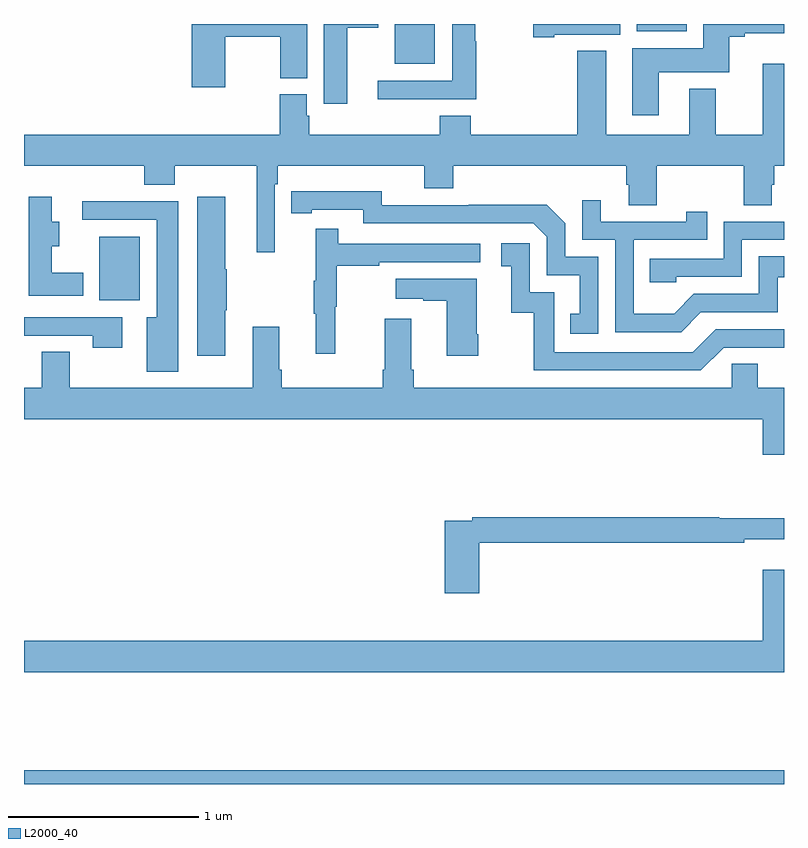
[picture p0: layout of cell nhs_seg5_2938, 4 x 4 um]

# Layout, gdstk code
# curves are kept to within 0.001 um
import gdstk
lib = gdstk.Library(unit=1e-6, precision=1e-09)
def R(c, l, rs):  # rectangles x0, y0, x1, y1
    for r in rs: c.add(gdstk.rectangle(r[:2], r[2:], *l))
def P(c, l, *ps):  # polygons
    for p in ps: c.add(gdstk.Polygon(p, *l))
L2000_40 = (2000, 40)

nhs_seg5_2938 = lib.new_cell('nhs_seg5_2938')
R(nhs_seg5_2938, L2000_40, [(281,894.799,285,894.872), (281.396,897.344,281.608,897.679), (282.95,898.589,283.162,898.799), (284.225,898.76,284.488,898.799)])
P(nhs_seg5_2938, L2000_40, [(282.06,898.732),(282.349,898.732),(282.349,898.513),(282.49,898.513),(282.49,898.799),(281.882,898.799),(281.882,898.467),(282.06,898.467)],
  [(282.7,898.778),(282.865,898.778),(282.865,898.799),(282.578,898.799),(282.578,898.38),(282.7,898.38)],
  [(284.341,898.544),(284.711,898.544),(284.711,898.732),(284.794,898.732),(284.794,898.751),(285,898.751),(285,898.799),(284.576,898.799),(284.576,898.672),(284.201,898.672),(284.201,898.32),(284.341,898.32)],
  [(283.792,898.742),(284.137,898.742),(284.137,898.799),(283.68,898.799),(283.68,898.73),(283.792,898.73)],
  [(283.379,898.707),(283.374,898.707),(283.374,898.799),(283.253,898.799),(283.253,898.5),(282.861,898.5),(282.861,898.403),(283.379,898.403)],
  [(283.187,898.216),(282.5,898.216),(282.5,898.317),(282.487,898.317),(282.487,898.428),(282.347,898.428),(282.347,898.216),(281,898.216),(281,898.052),(281.633,898.052),(281.633,897.953),(281.793,897.953),(281.793,898.052),(282.224,898.052),(282.224,897.597),(282.321,897.597),(282.321,897.956),(282.335,897.956),(282.335,898.052),(283.106,898.052),(283.106,897.935),(283.259,897.935),(283.259,898.052),(284.171,898.052),(284.171,897.954),(284.183,897.954),(284.183,897.844),(284.331,897.844),(284.331,898.052),(284.788,898.052),(284.788,897.844),(284.935,897.844),(284.935,897.954),(284.948,897.954),(284.948,898.052),(285,898.052),(285,898.591),(284.888,898.591),(284.888,898.216),(284.641,898.216),(284.641,898.459),(284.501,898.459),(284.501,898.216),(284.065,898.216),(284.065,898.657),(283.913,898.657),(283.913,898.216),(283.352,898.216),(283.352,898.315),(283.187,898.315)],
  [(284.022,897.573),(283.848,897.573),(283.848,897.75),(283.75,897.848),(283.342,897.848),(283.342,897.846),(282.882,897.846),(282.882,897.919),(282.406,897.918),(282.406,897.802),(282.514,897.802),(282.514,897.822),(282.786,897.822),(282.786,897.75),(283.68,897.75),(283.752,897.678),(283.752,897.477),(283.925,897.477),(283.925,897.273),(283.876,897.273),(283.876,897.168),(284.022,897.168)],
  [(282.058,897.292),(282.066,897.292),(282.066,897.509),(282.058,897.509),(282.058,897.889),(281.912,897.889),(281.912,897.054),(282.058,897.054)],
  [(281.311,897.49),(281.146,897.49),(281.146,897.629),(281.185,897.629),(281.185,897.759),(281.146,897.759),(281.146,897.889),(281.024,897.889),(281.024,897.368),(281.311,897.368)],
  [(284.563,897.282),(284.967,897.282),(284.967,897.467),(285,897.467),(285,897.577),(284.868,897.577),(284.868,897.378),(284.526,897.378),(284.422,897.274),(284.208,897.274),(284.208,897.663),(284.597,897.663),(284.597,897.811),(284.486,897.811),(284.486,897.759),(284.035,897.759),(284.035,897.871),(283.938,897.871),(283.938,897.663),(284.112,897.663),(284.112,897.177),(284.458,897.177)],
  [(281.812,897.866),(281.307,897.866),(281.307,897.768),(281.699,897.768),(281.699,897.256),(281.645,897.256),(281.645,896.97),(281.812,896.97)],
  [(284.433,897.468),(284.778,897.468),(284.778,897.663),(285,897.663),(285,897.759),(284.682,897.759),(284.682,897.564),(284.293,897.564),(284.293,897.441),(284.433,897.441)],
  [(282.638,897.312),(282.646,897.312),(282.646,897.526),(282.869,897.526),(282.869,897.546),(283.402,897.546),(283.402,897.642),(282.653,897.642),(282.653,897.721),(282.536,897.721),(282.536,897.449),(282.525,897.449),(282.525,897.275),(282.536,897.275),(282.536,897.063),(282.638,897.063)],
  [(284.682,897.096),(285,897.096),(285,897.192),(284.64,897.192),(284.52,897.072),(283.791,897.072),(283.791,897.387),(283.662,897.387),(283.662,897.646),(283.512,897.646),(283.512,897.525),(283.565,897.525),(283.565,897.279),(283.683,897.279),(283.683,896.976),(284.562,896.976)],
  [(283.392,897.166),(283.384,897.166),(283.384,897.457),(282.957,897.457),(282.957,897.353),(283.1,897.353),(283.1,897.343),(283.226,897.343),(283.226,897.054),(283.392,897.054)],
  [(281.518,897.255),(281,897.255),(281,897.159),(281.362,897.159),(281.362,897.096),(281.518,897.096)],
  [(285,896.884),(284.863,896.884),(284.863,897.011),(284.724,897.011),(284.724,896.884),(283.052,896.884),(283.052,896.98),(283.039,896.98),(283.039,897.247),(282.899,897.247),(282.899,896.98),(282.887,896.98),(282.887,896.884),(282.356,896.884),(282.356,896.98),(282.343,896.98),(282.343,897.205),(282.203,897.205),(282.203,896.884),(281.241,896.884),(281.241,897.074),(281.093,897.074),(281.093,896.884),(281,896.884),(281,896.72),(284.888,896.72),(284.888,896.532),(285,896.532)],
  [(283.397,896.068),(284.792,896.068),(284.792,896.087),(285,896.087),(285,896.197),(284.66,896.197),(284.66,896.204),(283.36,896.204),(283.36,896.184),(283.214,896.184),(283.214,895.803),(283.397,895.803)],
  [(285,895.927),(284.888,895.927),(284.888,895.552),(281,895.552),(281,895.388),(285,895.388)])

lib.write_gds('nhs_seg5_2938.gds')
